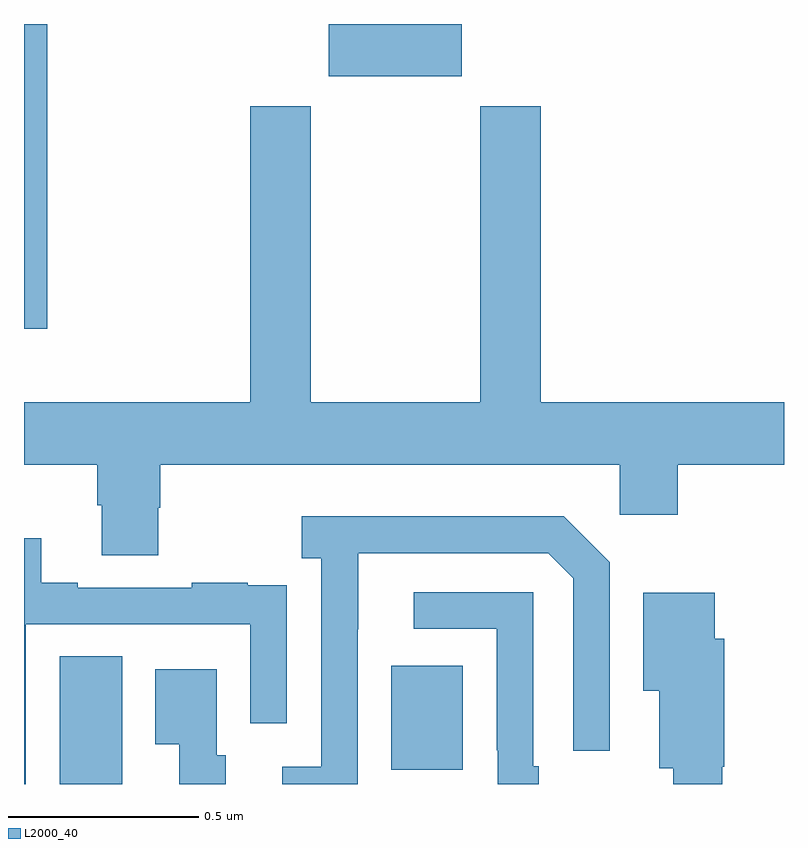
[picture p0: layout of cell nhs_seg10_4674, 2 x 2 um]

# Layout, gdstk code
import gdstk
lib = gdstk.Library(unit=1e-6, precision=1e-09)
def R(c, l, rs):  # rectangles x0, y0, x1, y1
    for r in rs: c.add(gdstk.rectangle(r[:2], r[2:], *l))
def P(c, l, *ps):  # polygons
    for p in ps: c.add(gdstk.Polygon(p, *l))
L2000_40 = (2000, 40)

nhs_seg10_4674 = lib.new_cell('nhs_seg10_4674')
R(nhs_seg10_4674, L2000_40, [(169.094,1275.5,169.258,1275.836), (169.967,1275.537,170.155,1275.811), (169,1276.698,169.061,1277.5), (169.802,1277.363,170.152,1277.5)])
P(nhs_seg10_4674, L2000_40, [(170.568,1276.209),(170.72,1276.209),(170.72,1276.34),(171,1276.34),(171,1276.504),(170.36,1276.504),(170.36,1277.284),(170.2,1277.284),(170.2,1276.504),(169.755,1276.504),(169.755,1277.284),(169.595,1277.284),(169.595,1276.504),(169,1276.504),(169,1276.34),(169.193,1276.34),(169.193,1276.234),(169.205,1276.234),(169.205,1276.102),(169.353,1276.102),(169.353,1276.227),(169.358,1276.227),(169.358,1276.34),(170.568,1276.34)],
  [(169.878,1275.907),(169.879,1275.907),(169.879,1276.107),(170.379,1276.107),(170.445,1276.041),(170.445,1275.588),(170.541,1275.588),(170.541,1276.083),(170.42,1276.204),(169.731,1276.204),(169.731,1276.094),(169.782,1276.094),(169.782,1275.546),(169.68,1275.546),(169.68,1275.5),(169.878,1275.5)],
  [(169.005,1275.921),(169.596,1275.921),(169.596,1275.66),(169.692,1275.66),(169.692,1275.914),(169.691,1275.914),(169.691,1276.023),(169.589,1276.023),(169.589,1276.03),(169.441,1276.03),(169.441,1276.017),(169.141,1276.017),(169.141,1276.03),(169.045,1276.03),(169.045,1276.147),(169,1276.147),(169,1275.5),(169.005,1275.5)],
  [(170.355,1275.547),(170.34,1275.547),(170.34,1276.005),(170.025,1276.005),(170.025,1275.909),(170.244,1275.909),(170.244,1275.589),(170.247,1275.589),(170.247,1275.5),(170.355,1275.5)],
  [(170.837,1275.546),(170.843,1275.546),(170.843,1275.882),(170.818,1275.882),(170.818,1276.003),(170.63,1276.003),(170.63,1275.746),(170.672,1275.746),(170.672,1275.542),(170.709,1275.542),(170.709,1275.5),(170.837,1275.5)],
  [(169.531,1275.576),(169.507,1275.576),(169.507,1275.802),(169.346,1275.802),(169.346,1275.605),(169.409,1275.605),(169.409,1275.5),(169.531,1275.5)])

lib.write_gds('nhs_seg10_4674.gds')
